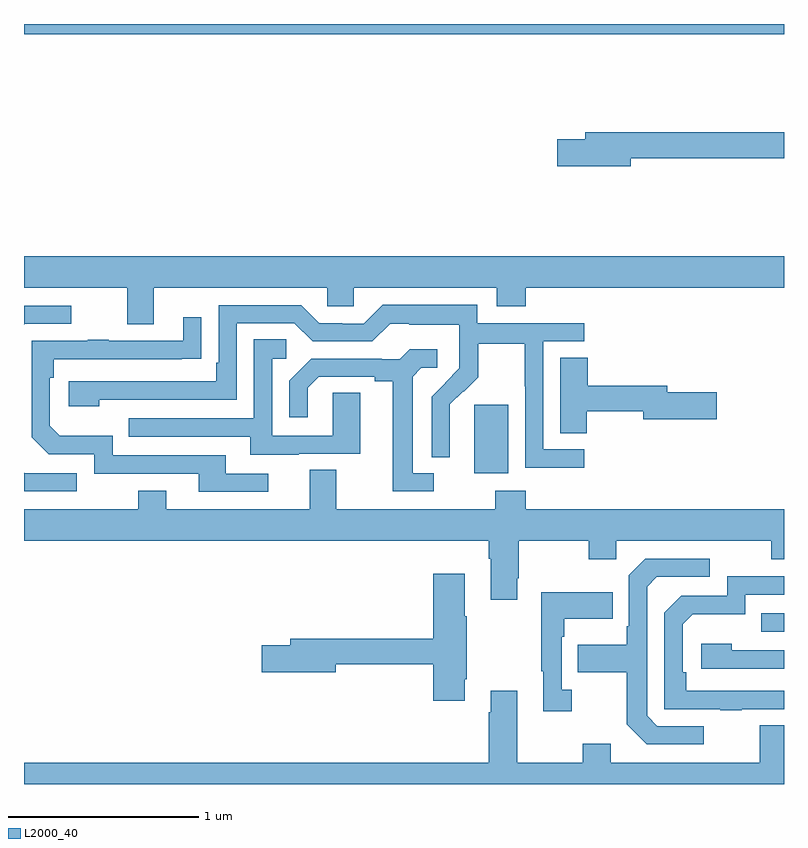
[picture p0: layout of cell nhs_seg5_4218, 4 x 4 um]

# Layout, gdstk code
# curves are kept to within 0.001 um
import gdstk
lib = gdstk.Library(unit=1e-6, precision=1e-09)
def R(c, l, rs):  # rectangles x0, y0, x1, y1
    for r in rs: c.add(gdstk.rectangle(r[:2], r[2:], *l))
def P(c, l, *ps):  # polygons
    for p in ps: c.add(gdstk.Polygon(p, *l))
L2000_40 = (2000, 40)

nhs_seg5_4218 = lib.new_cell('nhs_seg5_4218')
R(nhs_seg5_4218, L2000_40, [(362.881,869.601,363,869.697), (361.37,870.434,361.549,870.795), (359,872.744,363,872.799)])
P(nhs_seg5_4218, L2000_40, [(362.194,872.092),(363,872.092),(363,872.228),(361.955,872.228),(361.955,872.192),(361.806,872.192),(361.806,872.05),(362.194,872.05)],
  [(359.683,871.412),(360.597,871.412),(360.597,871.314),(360.735,871.314),(360.735,871.412),(361.487,871.412),(361.487,871.313),(361.64,871.313),(361.64,871.412),(363,871.412),(363,871.576),(359,871.576),(359,871.412),(359.543,871.412),(359.543,871.218),(359.683,871.218)],
  [(361.948,870.561),(361.734,870.561),(361.734,871.128),(361.948,871.128),(361.948,871.224),(361.386,871.224),(361.386,871.321),(360.889,871.321),(360.789,871.221),(360.674,871.221),(360.674,871.224),(360.555,871.224),(360.459,871.32),(360.024,871.32),(360.024,871.015),(360.011,871.015),(360.011,870.918),(359.235,870.918),(359.235,870.788),(359.396,870.788),(359.396,870.822),(360.12,870.822),(360.12,871.224),(360.423,871.224),(360.519,871.128),(360.834,871.128),(360.927,871.221),(361.027,871.221),(361.027,871.217),(361.29,871.217),(361.29,871.083),(361.292,871.083),(361.292,870.986),(361.146,870.838),(361.146,870.52),(361.242,870.52),(361.241,870.797),(361.311,870.867),(361.314,870.864),(361.391,870.941),(361.391,871.116),(361.636,871.116),(361.636,870.892),(361.638,870.892),(361.638,870.463),(361.948,870.463)],
  [(359.004,871.221),(359.248,871.221),(359.248,871.317),(359,871.317),(359,871.217)],
  [(360.286,870.432),(360.061,870.432),(360.061,870.528),(359.466,870.528),(359.466,870.631),(359.189,870.631),(359.136,870.684),(359.136,870.938),(359.156,870.938),(359.156,871.035),(359.933,871.036),(359.933,871.255),(359.837,871.255),(359.837,871.131),(359.447,871.131),(359.447,871.136),(359.335,871.136),(359.335,871.131),(359.04,871.131),(359.04,870.624),(359.13,870.534),(359.37,870.534),(359.37,870.432),(359.921,870.432),(359.921,870.336),(360.286,870.336)],
  [(360.445,870.537),(360.769,870.537),(360.769,870.857),(360.624,870.857),(360.624,870.633),(360.306,870.633),(360.306,871.038),(360.379,871.038),(360.379,871.139),(360.21,871.139),(360.21,870.723),(359.551,870.723),(359.551,870.627),(360.191,870.627),(360.191,870.533),(360.445,870.533)],
  [(361.156,870.435),(361.045,870.435),(361.045,870.943),(361.092,870.99),(361.174,870.99),(361.174,871.087),(361.03,871.087),(360.978,871.035),(360.884,871.035),(360.884,871.038),(360.512,871.038),(360.396,870.922),(360.396,870.729),(360.493,870.729),(360.493,870.885),(360.55,870.942),(360.845,870.942),(360.845,870.92),(360.941,870.92),(360.941,870.339),(361.156,870.339)],
  [(361.962,870.76),(362.258,870.76),(362.258,870.718),(362.647,870.718),(362.647,870.86),(362.386,870.86),(362.386,870.896),(361.967,870.896),(361.967,871.043),(361.823,871.043),(361.823,870.646),(361.962,870.646)],
  [(361.597,869.881),(361.605,869.881),(361.605,870.08),(361.972,870.08),(361.972,869.981),(362.118,869.981),(362.118,870.08),(362.932,870.08),(362.932,869.981),(363,869.981),(363,870.244),(361.64,870.244),(361.64,870.343),(361.48,870.343),(361.48,870.244),(360.643,870.244),(360.643,870.452),(360.503,870.452),(360.503,870.244),(359.749,870.244),(359.749,870.343),(359.602,870.343),(359.602,870.244),(359,870.244),(359,870.08),(361.445,870.08),(361.445,869.984),(361.457,869.984),(361.457,869.769),(361.597,869.769)],
  [(359.278,870.435),(359.001,870.435),(359,870.436),(359,870.339),(359.278,870.339)],
  [(362.578,869.103),(362.334,869.103),(362.28,869.157),(362.28,869.838),(362.331,869.889),(362.608,869.889),(362.608,869.985),(362.271,869.985),(362.184,869.898),(362.184,869.629),(362.172,869.629),(362.172,869.533),(361.915,869.533),(361.915,869.386),(362.172,869.386),(362.172,869.113),(362.277,869.007),(362.578,869.007)],
  [(361.321,869.35),(361.329,869.35),(361.329,869.681),(361.321,869.681),(361.321,869.905),(361.154,869.905),(361.154,869.564),(360.401,869.564),(360.401,869.528),(360.252,869.528),(360.252,869.386),(360.64,869.386),(360.64,869.428),(361.154,869.428),(361.154,869.238),(361.321,869.238)],
  [(362.777,869.193),(363,869.193),(363,869.289),(362.486,869.289),(362.486,869.386),(362.466,869.386),(362.466,869.64),(362.519,869.693),(362.796,869.693),(362.796,869.796),(363,869.796),(363,869.892),(362.7,869.892),(362.7,869.79),(362.46,869.79),(362.37,869.7),(362.37,869.193),(362.665,869.193),(362.665,869.188),(362.777,869.188)],
  [(361.882,869.294),(361.83,869.294),(361.83,869.573),(361.843,869.573),(361.843,869.669),(362.099,869.669),(362.099,869.809),(361.722,869.809),(361.722,869.393),(361.733,869.393),(361.733,869.181),(361.882,869.181)],
  [(363,869.502),(362.726,869.502),(362.726,869.536),(362.565,869.536),(362.565,869.406),(363,869.406)],
  [(363,869.107),(362.873,869.107),(362.873,868.912),(362.089,868.912),(362.089,869.011),(361.942,869.011),(361.942,868.912),(361.597,868.912),(361.597,869.29),(361.457,869.29),(361.457,869.177),(361.445,869.177),(361.445,868.912),(359,868.912),(359,868.799),(363,868.799)])

lib.write_gds('nhs_seg5_4218.gds')
